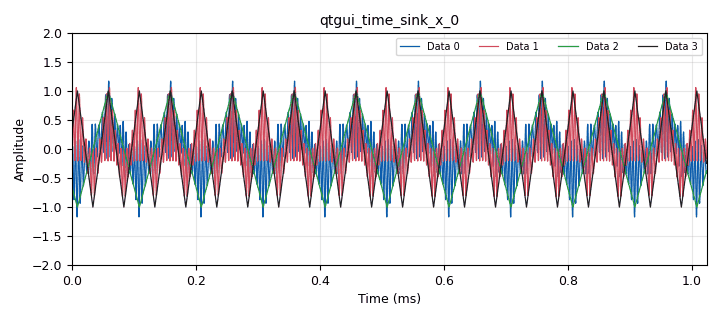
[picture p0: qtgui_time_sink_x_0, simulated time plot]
<?xml version='1.0' encoding='utf-8'?>
<?grc format='1' created='3.7.10'?>
<flow_graph>
<block>
<key>options</key>
<param><key>id</key><value>top_block</value></param>
<param><key>generate_options</key><value>qt_gui</value></param>
</block>
<block>
<key>variable</key>
<param><key>id</key><value>carrier</value></param>
<param><key>value</key><value>100e3</value></param>
</block>
<block>
<key>variable</key>
<param><key>id</key><value>samp_rate</value></param>
<param><key>value</key><value>int(10e6)</value></param>
</block>
<block>
<key>variable</key>
<param><key>id</key><value>signal</value></param>
<param><key>value</key><value>10e3</value></param>
</block>
<block>
<key>analog_sig_source_x</key>
<param><key>id</key><value>analog_sig_source_x_0</value></param>
<param><key>amp</key><value>1</value></param>
<param><key>freq</key><value>carrier</value></param>
<param><key>offset</key><value>0</value></param>
<param><key>type</key><value>float</value></param>
<param><key>samp_rate</key><value>samp_rate</value></param>
<param><key>waveform</key><value>analog.GR_COS_WAVE</value></param>
</block>
<block>
<key>analog_sig_source_x</key>
<param><key>id</key><value>analog_sig_source_x_0_0</value></param>
<param><key>amp</key><value>1</value></param>
<param><key>freq</key><value>carrier</value></param>
<param><key>offset</key><value>0</value></param>
<param><key>type</key><value>float</value></param>
<param><key>samp_rate</key><value>samp_rate</value></param>
<param><key>waveform</key><value>analog.GR_SIN_WAVE</value></param>
</block>
<block>
<key>analog_sig_source_x</key>
<param><key>id</key><value>analog_sig_source_x_0_0_0</value></param>
<param><key>amp</key><value>2</value></param>
<param><key>freq</key><value>2*signal</value></param>
<param><key>offset</key><value>-1</value></param>
<param><key>type</key><value>float</value></param>
<param><key>samp_rate</key><value>samp_rate</value></param>
<param><key>waveform</key><value>analog.GR_TRI_WAVE</value></param>
</block>
<block>
<key>analog_sig_source_x</key>
<param><key>id</key><value>analog_sig_source_x_0_0_1</value></param>
<param><key>amp</key><value>1</value></param>
<param><key>freq</key><value>carrier</value></param>
<param><key>offset</key><value>0</value></param>
<param><key>type</key><value>float</value></param>
<param><key>samp_rate</key><value>samp_rate</value></param>
<param><key>waveform</key><value>analog.GR_SIN_WAVE</value></param>
</block>
<block>
<key>analog_sig_source_x</key>
<param><key>id</key><value>analog_sig_source_x_0_1</value></param>
<param><key>amp</key><value>2</value></param>
<param><key>freq</key><value>signal</value></param>
<param><key>offset</key><value>-1</value></param>
<param><key>type</key><value>float</value></param>
<param><key>samp_rate</key><value>samp_rate</value></param>
<param><key>waveform</key><value>analog.GR_TRI_WAVE</value></param>
</block>
<block>
<key>analog_sig_source_x</key>
<param><key>id</key><value>analog_sig_source_x_0_2</value></param>
<param><key>amp</key><value>1</value></param>
<param><key>freq</key><value>carrier</value></param>
<param><key>offset</key><value>0</value></param>
<param><key>type</key><value>float</value></param>
<param><key>samp_rate</key><value>samp_rate</value></param>
<param><key>waveform</key><value>analog.GR_COS_WAVE</value></param>
</block>
<block>
<key>blocks_add_xx</key>
<param><key>id</key><value>blocks_add_xx_0</value></param>
<param><key>type</key><value>float</value></param>
</block>
<block>
<key>blocks_multiply_xx</key>
<param><key>id</key><value>blocks_multiply_xx_0</value></param>
<param><key>type</key><value>float</value></param>
</block>
<block>
<key>blocks_multiply_xx</key>
<param><key>id</key><value>blocks_multiply_xx_0_0</value></param>
<param><key>type</key><value>float</value></param>
</block>
<block>
<key>blocks_multiply_xx</key>
<param><key>id</key><value>blocks_multiply_xx_0_1</value></param>
<param><key>type</key><value>float</value></param>
</block>
<block>
<key>blocks_multiply_xx</key>
<param><key>id</key><value>blocks_multiply_xx_0_1_0</value></param>
<param><key>type</key><value>float</value></param>
</block>
<block>
<key>blocks_throttle</key>
<param><key>id</key><value>blocks_throttle_0</value></param>
<param><key>samples_per_second</key><value>samp_rate</value></param>
<param><key>type</key><value>float</value></param>
</block>
<block>
<key>qtgui_time_sink_x</key>
<param><key>id</key><value>qtgui_time_sink_x_0</value></param>
<param><key>color1</key><value>"blue"</value></param>
<param><key>label1</key><value></value></param>
<param><key>color2</key><value>"red"</value></param>
<param><key>label2</key><value></value></param>
<param><key>color3</key><value>"green"</value></param>
<param><key>label3</key><value></value></param>
<param><key>color4</key><value>"black"</value></param>
<param><key>label4</key><value></value></param>
<param><key>nconnections</key><value>4</value></param>
<param><key>size</key><value>10240</value></param>
<param><key>srate</key><value>samp_rate</value></param>
<param><key>tr_mode</key><value>qtgui.TRIG_MODE_AUTO</value></param>
<param><key>type</key><value>float</value></param>
<param><key>ymax</key><value>2</value></param>
<param><key>ymin</key><value>-2</value></param>
</block>
<connection><source_block_id>analog_sig_source_x_0</source_block_id><sink_block_id>blocks_multiply_xx_0</sink_block_id><source_key>0</source_key><sink_key>1</sink_key></connection>
<connection><source_block_id>analog_sig_source_x_0_0</source_block_id><sink_block_id>blocks_multiply_xx_0_0</sink_block_id><source_key>0</source_key><sink_key>0</sink_key></connection>
<connection><source_block_id>analog_sig_source_x_0_0_0</source_block_id><sink_block_id>blocks_multiply_xx_0_0</sink_block_id><source_key>0</source_key><sink_key>1</sink_key></connection>
<connection><source_block_id>analog_sig_source_x_0_0_0</source_block_id><sink_block_id>qtgui_time_sink_x_0</sink_block_id><source_key>0</source_key><sink_key>3</sink_key></connection>
<connection><source_block_id>analog_sig_source_x_0_0_1</source_block_id><sink_block_id>blocks_multiply_xx_0_1_0</sink_block_id><source_key>0</source_key><sink_key>0</sink_key></connection>
<connection><source_block_id>analog_sig_source_x_0_1</source_block_id><sink_block_id>blocks_multiply_xx_0</sink_block_id><source_key>0</source_key><sink_key>0</sink_key></connection>
<connection><source_block_id>analog_sig_source_x_0_1</source_block_id><sink_block_id>qtgui_time_sink_x_0</sink_block_id><source_key>0</source_key><sink_key>2</sink_key></connection>
<connection><source_block_id>analog_sig_source_x_0_2</source_block_id><sink_block_id>blocks_multiply_xx_0_1</sink_block_id><source_key>0</source_key><sink_key>1</sink_key></connection>
<connection><source_block_id>blocks_add_xx_0</source_block_id><sink_block_id>blocks_throttle_0</sink_block_id><source_key>0</source_key><sink_key>0</sink_key></connection>
<connection><source_block_id>blocks_multiply_xx_0</source_block_id><sink_block_id>blocks_add_xx_0</sink_block_id><source_key>0</source_key><sink_key>0</sink_key></connection>
<connection><source_block_id>blocks_multiply_xx_0_0</source_block_id><sink_block_id>blocks_add_xx_0</sink_block_id><source_key>0</source_key><sink_key>1</sink_key></connection>
<connection><source_block_id>blocks_multiply_xx_0_1</source_block_id><sink_block_id>qtgui_time_sink_x_0</sink_block_id><source_key>0</source_key><sink_key>0</sink_key></connection>
<connection><source_block_id>blocks_multiply_xx_0_1_0</source_block_id><sink_block_id>qtgui_time_sink_x_0</sink_block_id><source_key>0</source_key><sink_key>1</sink_key></connection>
<connection><source_block_id>blocks_throttle_0</source_block_id><sink_block_id>blocks_multiply_xx_0_1</sink_block_id><source_key>0</source_key><sink_key>0</sink_key></connection>
<connection><source_block_id>blocks_throttle_0</source_block_id><sink_block_id>blocks_multiply_xx_0_1_0</sink_block_id><source_key>0</source_key><sink_key>1</sink_key></connection>
</flow_graph>
